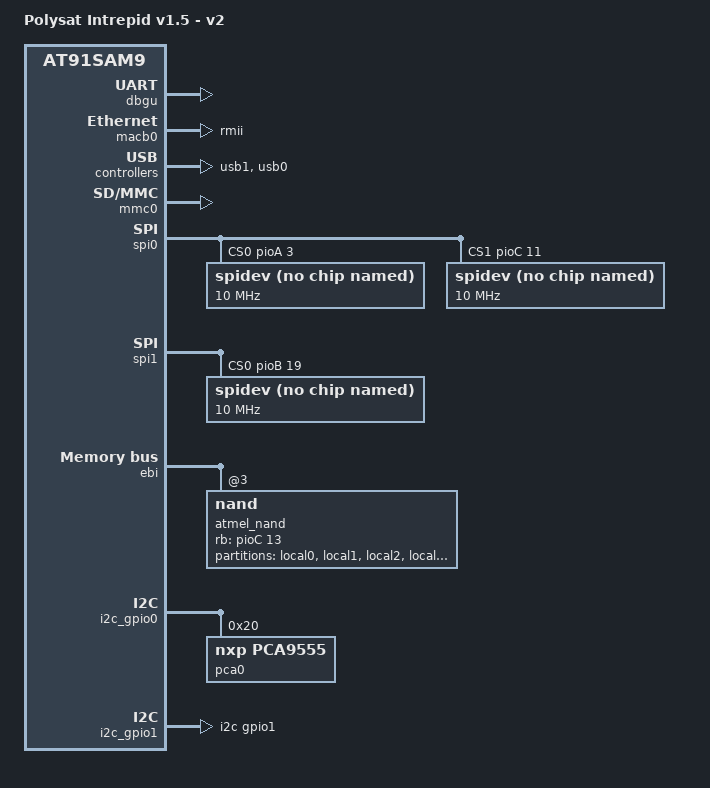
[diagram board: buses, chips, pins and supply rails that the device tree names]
// SPDX-License-Identifier: GPL-2.0-or-later
/*
 * polysat-intrepid-1.5.dts - Device Tree file for Polysat Intrepid v1.5 board
 *
 * Copyright (C) 2020 Joshua Anderson <j@joshua-anderson.com>
 */
/dts-v1/;
#include "at91sam9g20.dtsi"

/ {
	model = "Polysat Intrepid v1.5 - v2";
	compatible = "polysat,intrepid15", "atmel,at91sam9g20ek", "atmel,at91sam9g20", "atmel,at91sam9";

	aliases {
		i2c0 = &i2c_gpio0;
		i2c1 = &i2c_gpio1;
	};

	clocks {
		slow_xtal {
			clock-frequency = <32768>;
		};

		main_xtal {
			clock-frequency = <18432000>;
		};
	};

	ahb {
		apb {
			pinctrl@fffff400 {
				nand {
					pinctrl_polysat_nand_cs: nand-cs-0 {
						atmel,pins =
							 <AT91_PIOC 10 AT91_PERIPH_GPIO AT91_PINCTRL_PULL_UP>;
					};
				};

				board {
					pinctrl_pck0_as_mck: pck0_as_mck {
						atmel,pins =
							<AT91_PIOC 1 AT91_PERIPH_B AT91_PINCTRL_NONE>;	/* PC1 periph B */
					};
				};

				i2c_gpio1 {
					pinctrl_i2c_gpio1: i2c_gpio1-0 {
						atmel,pins =
							<AT91_PIOB 17 AT91_PERIPH_GPIO AT91_PINCTRL_MULTI_DRIVE
							 AT91_PIOB 18 AT91_PERIPH_GPIO AT91_PINCTRL_MULTI_DRIVE>;
					};
				};
			};

			dbgu: serial@fffff200 {
				status = "okay";
			};

			tcb0: timer@fffa0000 {
				timer@0 {
					compatible = "atmel,tcb-timer";
					reg = <0>, <1>;
				};

				timer@2 {
					compatible = "atmel,tcb-timer";
					reg = <2>;
				};
			};

			macb0: ethernet@fffc4000 {
				phy-mode = "rmii";
				status = "okay";
			};

			usb1: gadget@fffa4000 {
				status = "okay";
			};

			mmc0: mmc@fffa8000 {
				pinctrl-0 = <
					&pinctrl_mmc0_clk
					&pinctrl_mmc0_slot0_cmd_dat0
					&pinctrl_mmc0_slot0_dat1_3>;
				status = "okay";
				slot@0 {
					reg = <0>;
					bus-width = <4>;
				};
			};

			shdwc@fffffd10 {
				atmel,wakeup-counter = <10>;
				atmel,wakeup-rtt-timer;
			};

			spi0: spi@fffc8000 {
				status = "okay";
				cs-gpios = <&pioA 3 0>, <&pioC 11 0>;
				spidev@0 {
					// Super dumb hack. spidev refuses to let you mark spidev as the compatible hardware
					// because it isn't hardware. You either have to patch the kernel to mark your hardware
					// as comptible (bleh, no patches!), or pretend to be some random other hardware that's
					// already been marked as compatible with spidev.
					compatible = "rohm,dh2228fv";
					spi-max-frequency = <10000000>;
					reg = <0>;
				};
				spidev@1 {
					compatible = "rohm,dh2228fv";
					spi-max-frequency = <10000000>;
					reg = <1>;
				};
			};

			spi1: spi@fffcc000 {
				status = "okay";
				cs-gpios = <&pioB 19 0>;
				spidev@0 {
					compatible = "rohm,dh2228fv";
					spi-max-frequency = <10000000>;
					reg = <0>;
				};
				//spi@0 {
				//	compatible = "spi-mux";
				//	reg = <0>;
				//	#address-cells = <1>;
				//	#size-cells = <0>;
				//	mux-controls = <&spi1_mux>;
				//	spi-max-frequency = <10000000>;
				//	sdevtest@0 {
				//		compatible = "rohm,dh2228fv";
				//		spi-max-frequency = <10000000>;
				//		reg = <0>;
				//		#address-cells = <1>;
				//		#size-cells = <0>;
				//	};
				//	ds3234@8 {
				//		compatible = "maxim,ds3234";
				//		reg = <8>;
				//		spi-max-frequency = <1000000>;
				//	};
				//};
			};

			rtc@fffffd20 {
				atmel,rtt-rtc-time-reg = <&gpbr 0x0>;
				status = "okay";
			};

			gpbr: syscon@fffffd50 {
				status = "okay";
			};
		};

		ebi: ebi@10000000 {
			status = "okay";

			nand_controller: nand-controller {
				status = "okay";
				pinctrl-0 = <&pinctrl_polysat_nand_cs &pinctrl_nand_rb>;
				pinctrl-names = "default";

				nand@3 {
					reg = <0x3 0x0 0x800000>;
					rb-gpios = <&pioC 13 GPIO_ACTIVE_HIGH>;
					cs-gpios = <&pioC 10 GPIO_ACTIVE_HIGH>;
					nand-bus-width = <8>;
					nand-ecc-mode = "soft";
					nand-on-flash-bbt;
					label = "atmel_nand";

					partitions {
						compatible = "fixed-partitions";
						#address-cells = <1>;
						#size-cells = <1>;

						local0@0 {
							label = "local0";
							reg = <0x0 0x2000000>;
						};

						local1@2000000 {
							label = "local1";
							reg = <0x2000000 0x2000000>;
						};

						local2@4000000 {
							label = "local2";
							reg = <0x4000000 0x2000000>;
						};

						local3@6000000 {
							label = "local3";
							reg = <0x6000000 0x2000000>;
						};

						local4@8000000 {
							label = "local4";
							reg = <0x8000000 0x2000000>;
						};

						data@a000000 {
							label = "data";
							reg = <0xa000000 0x169f1000>;
						};
					};
				};
			};
		};

		usb0: ohci@500000 {
			num-ports = <2>;
			status = "okay";
		};
	};

	i2c_gpio0: i2c-gpio-0 {
		status = "okay";

		pca0: pca9555@20 {
			compatible = "nxp,pca9555";
			reg = <0x20>;
			gpio-controller;
			#gpio-cells = <2>;
		};

		//pca1: pca9539@77 {
		//	compatible = "nxp,pca9539";
		//	reg = <0x77>;
		//	gpio-controller;
		//	#gpio-cells = <2>;
		//};
	};

	i2c_gpio1: i2c-gpio-1 {
		compatible = "i2c-gpio";
		gpios = <&pioB 17 GPIO_ACTIVE_HIGH /* sda */
				 &pioB 18 GPIO_ACTIVE_HIGH /* scl */
				>;
		i2c-gpio,sda-open-drain;
		i2c-gpio,scl-open-drain;
		i2c-gpio,delay-us = <2>;	/* ~100 kHz */
		#address-cells = <1>;
		#size-cells = <0>;
		pinctrl-names = "default";
		pinctrl-0 = <&pinctrl_i2c_gpio1>;
		status = "okay";
	};
};
